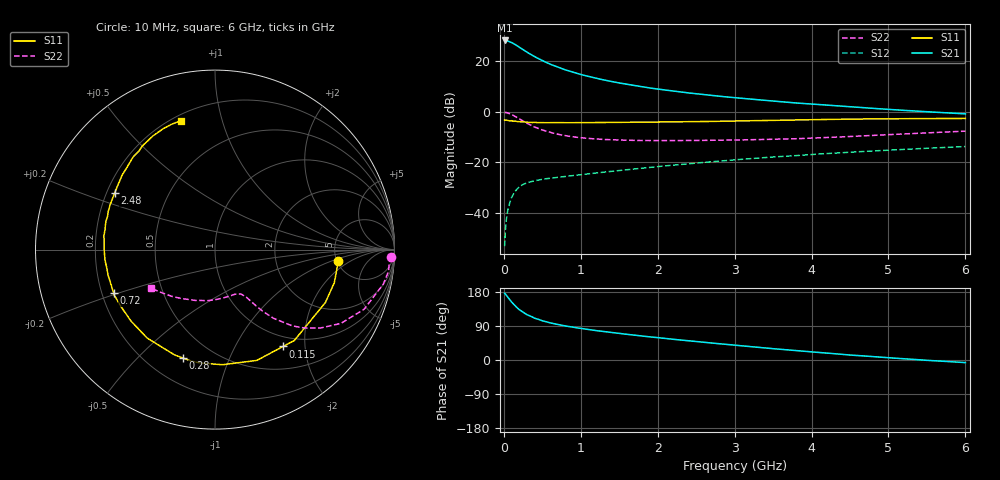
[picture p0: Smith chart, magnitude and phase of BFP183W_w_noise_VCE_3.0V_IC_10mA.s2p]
! Infineon Technologies  Discrete & RF Semiconductors
! BFP183W
! VCE = 3.0 V,  IC =  10 mA
! Common Emitter S-Parameters:  Jan 2016
# GHz  S  MA  R  50
!  f  S11  S21  S12  S22
! GHz  MAG  ANG  MAG  ANG  MAG  ANG  MAG  ANG
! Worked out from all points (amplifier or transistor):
!   210 points, 10 MHz to 6 GHz, reference 50 ohm
!   highest |S21| = 28.3 dB at 10 MHz (marker M1)
!   |S21| within 3 dB of that: start of sweep to 217.7 MHz
!   unconditionally stable (mu >= 1): 1.335 GHz to 5.391 GHz
!   at 185 MHz: K = 0.22, MSG = 28.1 dB, |S12| = -30.2 dB
!   at 1.52 GHz: K = 1.05, MAG = 15.9 dB, |S12| = -23.1 dB
!   at 6 GHz: K = 0.97, MSG = 6.5 dB, |S12| = -13.7 dB
!   lowest NFmin = 1.30 dB at 450 MHz
!   S11 on the Smith chart (normalised r, x): 10 MHz: 5.15, -1.23; 115 MHz: 0.84, -1.60; 280 MHz: 0.34, -0.69; 720 MHz: 0.25, -0.19; 2.48 GHz: 0.23, +0.25; 6 GHz: 0.23, +0.74
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0.01  0.6903 -5.2  26 176.3  0.0022 88.1  0.9831 -2.3
0.03  0.6898 -15.5  25.95 171.5  0.0069 85.1  0.9744 -7.1
0.05  0.6822 -25.6  25.49 165.8  0.011 78.5  0.9573 -11.6
0.1  0.672 -48.9  23.72 153.2  0.0201 67.5  0.8948 -21.8
0.115  0.6596 -54.9  22.97 150.0  0.0222 64.6  0.8685 -24.2
0.15  0.6599 -69.3  21.52 141.9  0.0273 59.7  0.8135 -30.3
0.2  0.6427 -86.3  19.16 132.9  0.0327 53.7  0.7322 -36.6
0.24  0.6372 -97.1  17.49 127.2  0.036 49.6  0.6737 -40.5
0.28  0.6299 -106.5  15.95 122.2  0.0384 46.5  0.6212 -43.6
0.3  0.6285 -111.1  15.21 119.6  0.0395 45.2  0.596 -45.0
0.4  0.6211 -127.5  12.41 110.4  0.0434 41.5  0.5023 -49.6
0.5  0.6144 -139.6  10.34 103.5  0.0465 39.2  0.4387 -52.1
0.6  0.6123 -148.5  8.826 98.1  0.0488 38.3  0.3938 -53.7
0.72  0.6145 -156.8  7.537 93.0  0.0513 38.6  0.3571 -54.9
1.02  0.6122 -171.4  5.406 82.8  0.0576 40.2  0.3064 -57.5
1.4  0.6196 175.5  4.001 72.5  0.0666 43.3  0.2813 -61.3
2.02  0.6319 160.1  2.812 58.5  0.0833 46.3  0.2712 -70.1
2.48  0.6418 150.7  2.306 49.1  0.0964 46.9  0.2723 -78.1
3.1  0.6663 139.3  1.853 37.3  0.1157 46.2  0.2793 -90.5
4.1  0.7076 123.8  1.4 19.8  0.1469 43.0  0.307 -113.5
5.1  0.7337 112.4  1.098 4.6  0.1782 38.1  0.3608 -134.9
6  0.7433 104.9  0.915 -6.9  0.2065 33.6  0.4166 -149.2
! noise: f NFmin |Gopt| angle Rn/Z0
0.45  1.3  0.15  45  0.18
0.9  1.4  0.2  125  0.19
1.8  2.1  0.34  -170  0.14
